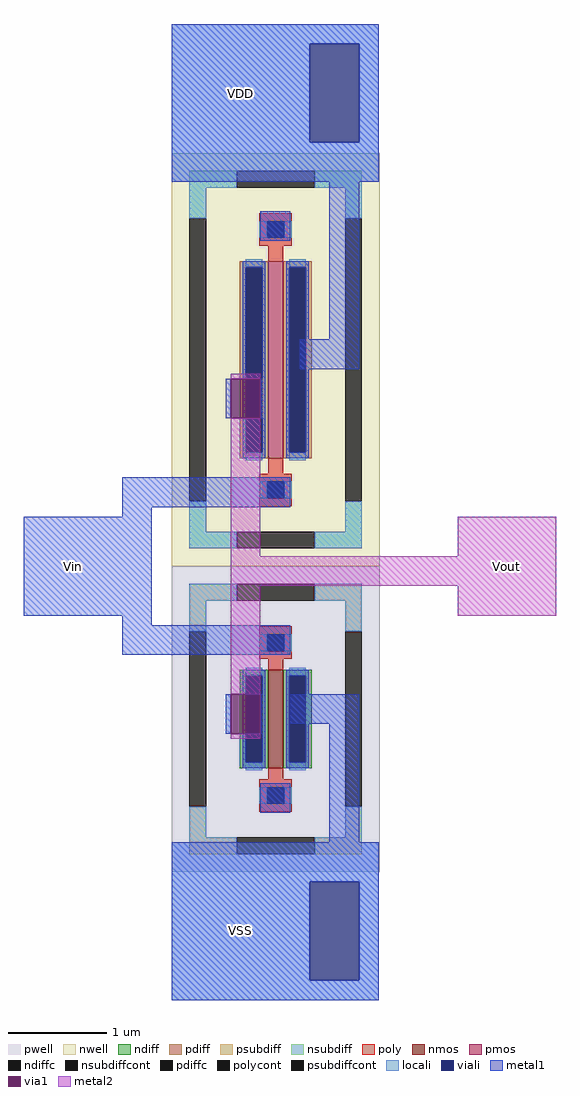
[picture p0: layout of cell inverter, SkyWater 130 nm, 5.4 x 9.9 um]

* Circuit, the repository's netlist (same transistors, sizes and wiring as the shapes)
** sch_path: /home/kivimagi/reram/caravel_user_project_analog/xschem/inverter.sch
.subckt inverter Vout Vin VDD VSS
*.PININFO Vout:O Vin:I VDD:B VSS:B
XM1 Vout Vin VSS VSS sky130_fd_pr__nfet_01v8 L=0.15 W=1 nf=1 m=1
XM3 Vout Vin VDD VDD sky130_fd_pr__pfet_01v8 L=0.15 W=2 nf=1 m=1
.ends
.end

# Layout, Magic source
magic
tech sky130B
magscale 1 2
<< locali >>
rect -60 2040 360 2080
rect -60 1840 220 2040
rect 320 1840 360 2040
rect -60 1760 360 1840
rect -60 340 360 420
rect -60 140 220 340
rect 320 140 360 340
rect -60 100 360 140
<< viali >>
rect 220 1840 320 2040
rect 220 140 320 340
<< metal1 >>
rect -60 2040 360 2080
rect -60 1840 220 2040
rect 320 1840 360 2040
rect -60 1760 360 1840
rect 120 1640 180 1700
rect 260 1440 320 1760
rect 200 1380 320 1440
rect 50 1280 60 1360
rect 120 1280 130 1360
rect -160 1100 180 1160
rect -160 1080 -100 1100
rect -360 880 -100 1080
rect -160 860 -100 880
rect -160 800 180 860
rect 50 640 60 720
rect 120 640 130 720
rect 180 660 320 720
rect 120 480 180 540
rect 260 420 320 660
rect -60 340 360 420
rect -60 140 220 340
rect 320 140 360 340
rect -60 100 360 140
<< via1 >>
rect 60 1280 120 1360
rect 60 640 120 720
<< metal2 >>
rect 60 1360 120 1370
rect 60 1000 120 1280
rect 520 1000 720 1080
rect 60 940 720 1000
rect 60 720 120 940
rect 520 880 720 940
rect 60 630 120 640
use sky130_fd_pr__nfet_01v8_648S5X  XM1
transform 1 0 151 0 1 670
box -211 -310 211 310
use sky130_fd_pr__pfet_01v8_XGAKDL  XM3
transform 1 0 151 0 1 1399
box -211 -419 211 419
<< labels >>
flabel metal1 -360 880 -160 1080 0 FreeSans 256 0 0 0 Vin
port 1 nsew
flabel metal1 -20 140 180 340 0 FreeSans 256 0 0 0 VSS
port 3 nsew
flabel metal1 -20 1840 180 2040 0 FreeSans 256 0 0 0 VDD
port 2 nsew
flabel metal2 520 880 720 1080 0 FreeSans 256 0 0 0 Vout
port 0 nsew
<< end >>

# cell sky130_fd_pr__nfet_01v8_648S5X: kit device sky130_fd_pr__nfet_01v8, w 1.0 l 0.15 m 1 nf 1 diffcov 100 polycov 100 guard 1 glc 1 grc 1 gtc 1 gbc 1 tbcov 100 rlcov 100 topc 1 botc 1 poverlap 0 doverlap 1 lmin 0.15 wmin 0.42 compatible {sky130_fd_pr__nfet_01v8 sky130_fd_pr__nfet_01v8_lvt sky130_fd_bs_flash__special_sonosfet_star sky130_fd_pr__nfet_g5v0d10v5 sky130_fd_pr__nfet_05v0_nvt sky130_fd_pr__nfet_03v3_nvt} full_metal 1 viasrc 100 viadrn 100 viagate 100 viagb 0 viagr 0 viagl 0 viagt 0

# cell sky130_fd_pr__pfet_01v8_XGAKDL: kit device sky130_fd_pr__pfet_01v8, w 2.0 l 0.15 m 1 nf 1 diffcov 100 polycov 100 guard 1 glc 1 grc 1 gtc 1 gbc 1 tbcov 100 rlcov 100 topc 1 botc 1 poverlap 0 doverlap 1 lmin 0.15 wmin 0.42 compatible {sky130_fd_pr__pfet_01v8 sky130_fd_pr__pfet_01v8_lvt sky130_fd_pr__pfet_01v8_hvt sky130_fd_pr__pfet_g5v0d10v5} full_metal 1 viasrc 100 viadrn 100 viagate 100 viagb 0 viagr 0 viagl 0 viagt 0
